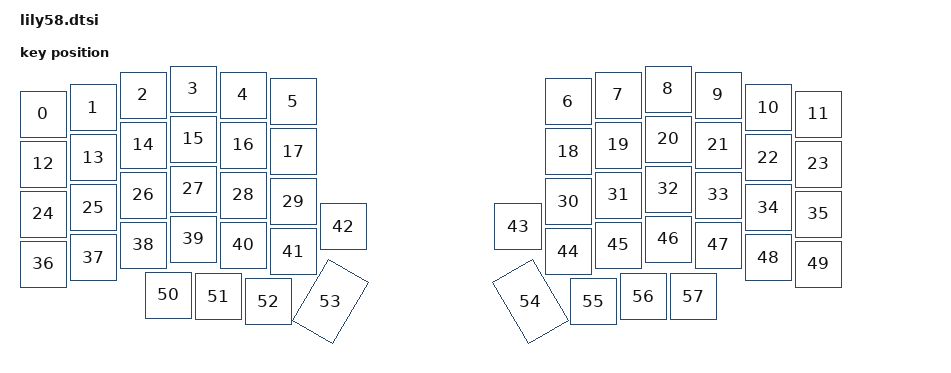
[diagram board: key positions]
#include <physical_layouts.dtsi>

/ {
    kata0510_lily58_layout: kata0510_lily58_layout {
        compatible = "zmk,physical-layout";
        display-name = "Default";

        keys  //                     w   h    x    y     rot    rx    ry
            = <&key_physical_attrs 100 100    0   50       0     0     0>
            , <&key_physical_attrs 100 100  100   37       0     0     0>
            , <&key_physical_attrs 100 100  200   12       0     0     0>
            , <&key_physical_attrs 100 100  300    0       0     0     0>
            , <&key_physical_attrs 100 100  400   12       0     0     0>
            , <&key_physical_attrs 100 100  500   25       0     0     0>
            , <&key_physical_attrs 100 100 1050   25       0     0     0>
            , <&key_physical_attrs 100 100 1150   12       0     0     0>
            , <&key_physical_attrs 100 100 1250    0       0     0     0>
            , <&key_physical_attrs 100 100 1350   12       0     0     0>
            , <&key_physical_attrs 100 100 1450   37       0     0     0>
            , <&key_physical_attrs 100 100 1550   50       0     0     0>
            , <&key_physical_attrs 100 100    0  150       0     0     0>
            , <&key_physical_attrs 100 100  100  137       0     0     0>
            , <&key_physical_attrs 100 100  200  112       0     0     0>
            , <&key_physical_attrs 100 100  300  100       0     0     0>
            , <&key_physical_attrs 100 100  400  112       0     0     0>
            , <&key_physical_attrs 100 100  500  125       0     0     0>
            , <&key_physical_attrs 100 100 1050  125       0     0     0>
            , <&key_physical_attrs 100 100 1150  112       0     0     0>
            , <&key_physical_attrs 100 100 1250  100       0     0     0>
            , <&key_physical_attrs 100 100 1350  112       0     0     0>
            , <&key_physical_attrs 100 100 1450  137       0     0     0>
            , <&key_physical_attrs 100 100 1550  150       0     0     0>
            , <&key_physical_attrs 100 100    0  250       0     0     0>
            , <&key_physical_attrs 100 100  100  237       0     0     0>
            , <&key_physical_attrs 100 100  200  212       0     0     0>
            , <&key_physical_attrs 100 100  300  200       0     0     0>
            , <&key_physical_attrs 100 100  400  212       0     0     0>
            , <&key_physical_attrs 100 100  500  225       0     0     0>
            , <&key_physical_attrs 100 100 1050  225       0     0     0>
            , <&key_physical_attrs 100 100 1150  212       0     0     0>
            , <&key_physical_attrs 100 100 1250  200       0     0     0>
            , <&key_physical_attrs 100 100 1350  212       0     0     0>
            , <&key_physical_attrs 100 100 1450  237       0     0     0>
            , <&key_physical_attrs 100 100 1550  250       0     0     0>
            , <&key_physical_attrs 100 100    0  350       0     0     0>
            , <&key_physical_attrs 100 100  100  337       0     0     0>
            , <&key_physical_attrs 100 100  200  312       0     0     0>
            , <&key_physical_attrs 100 100  300  300       0     0     0>
            , <&key_physical_attrs 100 100  400  312       0     0     0>
            , <&key_physical_attrs 100 100  500  325       0     0     0>
            , <&key_physical_attrs 100 100  600  275       0     0     0>
            , <&key_physical_attrs 100 100  950  275       0     0     0>
            , <&key_physical_attrs 100 100 1050  325       0     0     0>
            , <&key_physical_attrs 100 100 1150  312       0     0     0>
            , <&key_physical_attrs 100 100 1250  300       0     0     0>
            , <&key_physical_attrs 100 100 1350  312       0     0     0>
            , <&key_physical_attrs 100 100 1450  337       0     0     0>
            , <&key_physical_attrs 100 100 1550  350       0     0     0>
            , <&key_physical_attrs 100 100  250  412       0     0     0>
            , <&key_physical_attrs 100 100  350  415       0     0     0>
            , <&key_physical_attrs 100 100  450  425       0     0     0>
            , <&key_physical_attrs 100 150  575  400    3000   625   475>
            , <&key_physical_attrs 100 150  975  400 (-3000)  1025   475>
            , <&key_physical_attrs 100 100 1100  425       0     0     0>
            , <&key_physical_attrs 100 100 1200  415       0     0     0>
            , <&key_physical_attrs 100 100 1300  415       0     0     0>
            ;
    };
};
